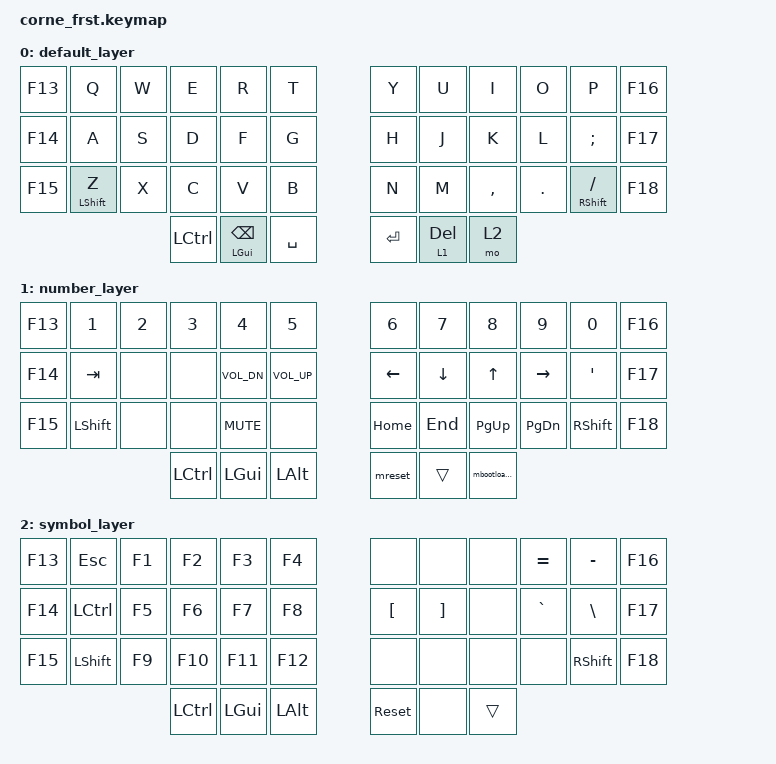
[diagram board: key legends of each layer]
/*
 * Copyright (c) 2025 Jon Sharp
 * Co-authored by Claude (Anthropic)
 * SPDX-License-Identifier: MIT
 */

#include <behaviors.dtsi>
#include <dt-bindings/zmk/keys.h>
#include <dt-bindings/zmk/bt.h>

/ {
    behaviors {
        mreset: mod_reset {
            compatible = "zmk,behavior-mod-morph";
            label = "MOD_RESET";
            #binding-cells = <0>;
            bindings = <&none>, <&sys_reset>;
            mods = <(MOD_LGUI)>;
        };

        mbootloader: mod_bootloader {
            compatible = "zmk,behavior-mod-morph";
            label = "MOD_BOOTLOADER";
            #binding-cells = <0>;
            bindings = <&none>, <&bootloader>;
            mods = <(MOD_LGUI)>;
        };
    };

    keymap {
        compatible = "zmk,keymap";

        default_layer {
// -----------------------------------------------------------------------------------------
// | EDT |  Q  |  W  |  E  |  R  |  T  |   |  Y  |  U   |  I  |  O  |  P  | FIL |
// | SHL |  A  |  S  |  D  |  F  |  G  |   |  H  |  J   |  K  |  L  |  ;  | COM |
// | SET |  Z  |  X  |  C  |  V  |  B  |   |  N  |  M   |  ,  |  .  |  /  | HOM |
//                   | CTL | BSP | SPC |   | ENT | DEL  | L1  |
//
// Outer columns are app launchers (F13-F18):
//   F13=Editor  F14=Shell  F15=Settings  F16=Files  F17=Comms  F18=Home
            bindings = <
   &kp F13 &kp Q &kp W &kp E &kp R &kp T   &kp Y &kp U  &kp I     &kp O   &kp P    &kp F16
   &kp F14 &kp A &kp S &kp D &kp F &kp G   &kp H &kp J  &kp K     &kp L   &kp SEMI &kp F17
   &kp F15 &mt LSHFT Z &kp X &kp C &kp V &kp B   &kp N &kp M  &kp COMMA &kp DOT &mt RSHFT FSLH &kp F18
                       &kp LCTRL &mt LGUI BSPC &kp SPACE   &kp RET &lt 1 DEL &mo 2
            >;
        };

        number_layer {
// -----------------------------------------------------------------------------------------
// | EDT |  1  |  2  |  3  |  4  |  5  |   |  6  |  7  |  8  |  9  |  0  | FIL |
// | SHL | TAB |     |     | VOL-| VOL+|   |  <- |  v  |  ^  |  -> |  '  | COM |
// | SET |LSHFT|     |     | MUTE|     |   | HOME| END |PGUP |PGDN |RSHFT| HOM |
//                   | CTL | GUI | ALT |   | RST |     | BL  |
            bindings = <
   &kp F13 &kp N1  &kp N2 &kp N3 &kp N4       &kp N5         &kp N6   &kp N7  &kp N8    &kp N9    &kp N0    &kp F16
   &kp F14 &kp TAB &none  &none  &kp C_VOL_DN &kp C_VOL_UP   &kp LEFT &kp DOWN &kp UP   &kp RIGHT &kp SQT   &kp F17
   &kp F15 &kp LSHFT &none &none &kp C_MUTE  &none          &kp HOME &kp END &kp PG_UP &kp PG_DN &kp RSHFT &kp F18
                         &kp LCTRL &kp LGUI &kp LALT       &mreset  &trans  &mbootloader
            >;
        };

        symbol_layer {
// -----------------------------------------------------------------------------------------
// | EDT | ESC |  F1 |  F2 |  F3 |  F4 |   |     |     |     |  =  |  -  | FIL |
// | SHL |CAPS |  F5 |  F6 |  F7 |  F8 |   |  [  |  ]  |     |  `  |  \  | COM |
// | SET |LSHFT|  F9 | F10 | F11 | F12 |   |     |     |     |     |RSHFT| HOM |
//                   | CTL | GUI | ALT |   | RST |     |     |
            bindings = <
   &kp F13 &kp ESC   &kp F1 &kp F2  &kp F3  &kp F4    &none    &none    &none &kp EQUAL &kp MINUS &kp F16
   &kp F14 &kp LCTRL &kp F5 &kp F6  &kp F7  &kp F8    &kp LBKT &kp RBKT &none &kp GRAVE &kp BSLH  &kp F17
   &kp F15 &kp LSHFT &kp F9 &kp F10 &kp F11 &kp F12   &none    &none    &none &none     &kp RSHFT &kp F18
                           &kp LCTRL &kp LGUI &kp LALT   &sys_reset &none &trans
            >;
        };
    };
};
